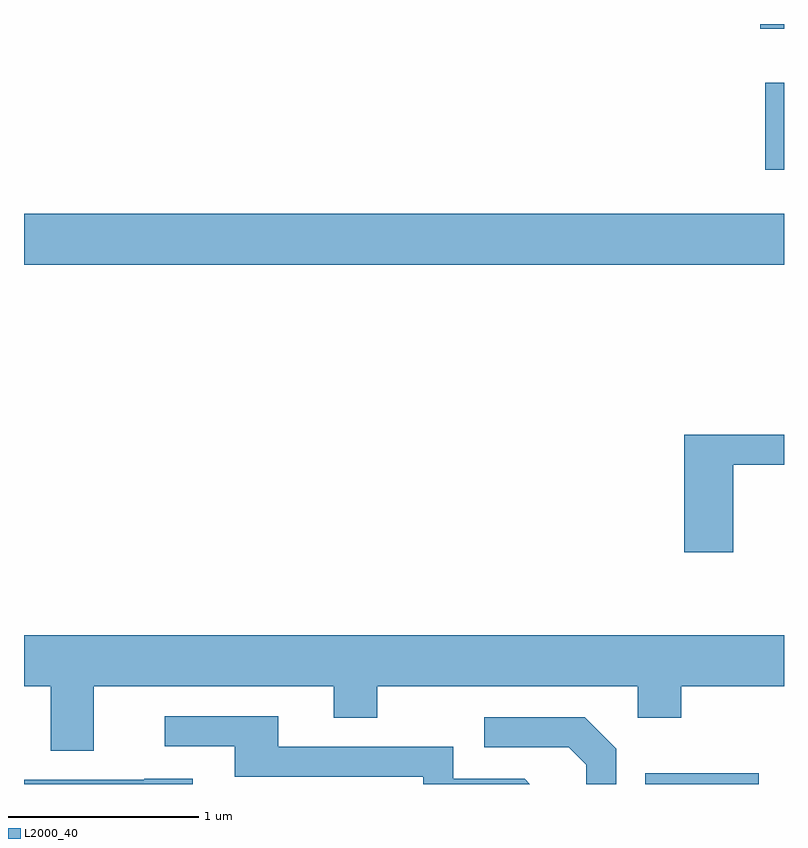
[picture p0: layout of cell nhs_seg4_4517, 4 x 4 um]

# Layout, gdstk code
import gdstk
lib = gdstk.Library(unit=1e-6, precision=1e-09)
def R(c, l, rs):  # rectangles x0, y0, x1, y1
    for r in rs: c.add(gdstk.rectangle(r[:2], r[2:], *l))
def P(c, l, *ps):  # polygons
    for p in ps: c.add(gdstk.Polygon(p, *l))
L2000_40 = (2000, 40)

nhs_seg4_4517 = lib.new_cell('nhs_seg4_4517')
R(nhs_seg4_4517, L2000_40, [(320.881,1311.982,321.479,1312.039), (317.611,1314.716,321.611,1314.984), (321.511,1315.216,321.611,1315.674), (321.486,1315.956,321.611,1315.982)])
P(nhs_seg4_4517, L2000_40, [(321.344,1313.661),(321.611,1313.661),(321.611,1313.819),(321.086,1313.819),(321.086,1313.201),(321.344,1313.201)],
  [(317.979,1312.496),(319.241,1312.496),(319.241,1312.331),(319.469,1312.331),(319.469,1312.496),(320.841,1312.496),(320.841,1312.331),(321.069,1312.331),(321.069,1312.496),(321.611,1312.496),(321.611,1312.764),(317.611,1312.764),(317.611,1312.496),(317.751,1312.496),(317.751,1312.156),(317.979,1312.156)],
  [(320.247,1312.009),(319.869,1312.009),(319.869,1312.179),(318.949,1312.179),(318.949,1312.339),(318.353,1312.339),(318.353,1312.181),(318.721,1312.181),(318.721,1312.021),(319.711,1312.021),(319.711,1311.982),(320.274,1311.982)],
  [(320.729,1312.167),(320.562,1312.334),(320.033,1312.334),(320.033,1312.176),(320.479,1312.176),(320.571,1312.084),(320.571,1311.982),(320.729,1311.982)],
  [(318.499,1312.009),(318.245,1312.009),(318.245,1312.004),(317.611,1312.004),(317.611,1311.982),(318.499,1311.982)])

lib.write_gds('nhs_seg4_4517.gds')
